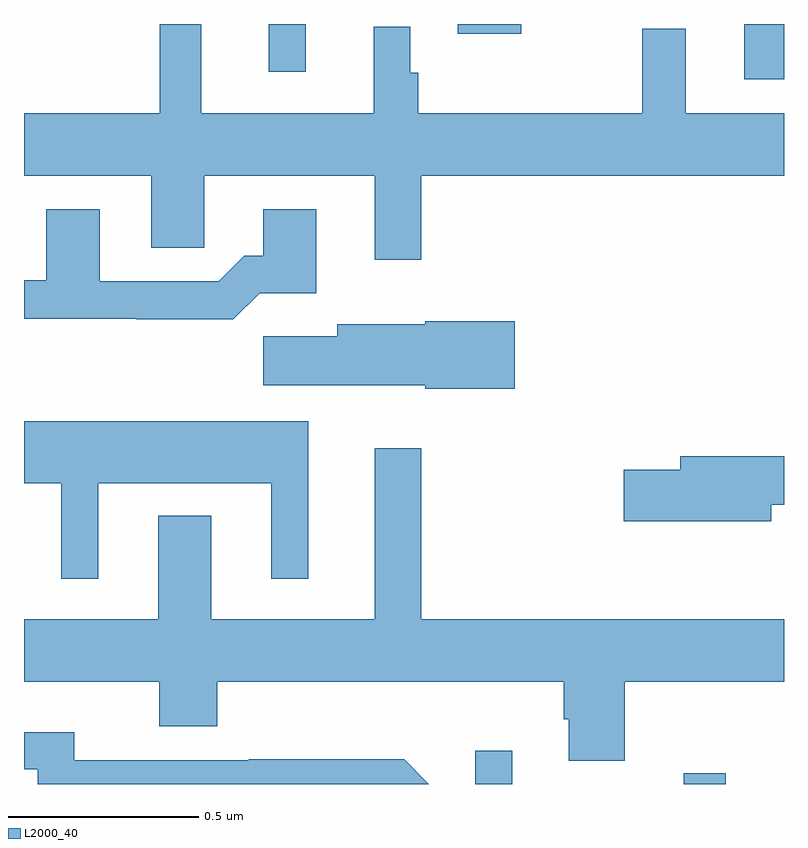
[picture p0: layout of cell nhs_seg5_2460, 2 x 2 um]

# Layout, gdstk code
import gdstk
lib = gdstk.Library(unit=1e-6, precision=1e-09)
def R(c, l, rs):  # rectangles x0, y0, x1, y1
    for r in rs: c.add(gdstk.rectangle(r[:2], r[2:], *l))
def P(c, l, *ps):  # polygons
    for p in ps: c.add(gdstk.Polygon(p, *l))
L2000_40 = (2000, 40)

nhs_seg5_2460 = lib.new_cell('nhs_seg5_2460')
R(nhs_seg5_2460, L2000_40, [(145.188,881.799,145.285,881.887), (145.736,881.799,145.847,881.827), (145.895,883.653,146,883.799), (144.644,883.674,144.741,883.799), (145.142,883.773,145.308,883.799)])
P(nhs_seg5_2460, L2000_40, [(145.045,883.4),(146,883.4),(146,883.564),(145.741,883.564),(145.741,883.786),(145.627,883.786),(145.627,883.564),(145.037,883.564),(145.037,883.671),(145.017,883.671),(145.017,883.792),(144.92,883.792),(144.92,883.564),(144.467,883.564),(144.467,883.798),(144.357,883.798),(144.357,883.564),(144,883.564),(144,883.4),(144.335,883.4),(144.335,883.21),(144.474,883.21),(144.474,883.4),(144.923,883.4),(144.923,883.179),(145.045,883.179)],
  [(144.62,883.091),(144.769,883.091),(144.769,883.312),(144.629,883.312),(144.629,883.189),(144.58,883.189),(144.513,883.122),(144.199,883.122),(144.199,883.312),(144.059,883.312),(144.059,883.125),(144,883.125),(144,883.024),(144.295,883.024),(144.295,883.022),(144.551,883.022)],
  [(145.291,883.017),(145.056,883.017),(145.056,883.009),(144.824,883.009),(144.824,882.977),(144.63,882.977),(144.63,882.848),(145.056,882.848),(145.056,882.839),(145.291,882.839)],
  [(144.196,882.59),(144.65,882.59),(144.65,882.339),(144.748,882.339),(144.748,882.754),(144,882.754),(144,882.59),(144.098,882.59),(144.098,882.339),(144.196,882.339)],
  [(145.581,882.068),(146,882.068),(146,882.232),(145.045,882.232),(145.045,882.682),(144.923,882.682),(144.923,882.232),(144.493,882.232),(144.493,882.505),(144.353,882.505),(144.353,882.232),(144,882.232),(144,882.068),(144.356,882.068),(144.356,881.951),(144.509,881.951),(144.509,882.068),(145.421,882.068),(145.421,881.97),(145.433,881.97),(145.433,881.86),(145.581,881.86)],
  [(145.966,882.534),(146,882.534),(146,882.662),(145.727,882.662),(145.727,882.626),(145.578,882.626),(145.578,882.491),(145.966,882.491)],
  [(145,881.864),(144.592,881.864),(144.592,881.862),(144.132,881.862),(144.132,881.935),(144,881.935),(144,881.838),(144.036,881.838),(144.036,881.799),(145.065,881.799)])

lib.write_gds('nhs_seg5_2460.gds')
